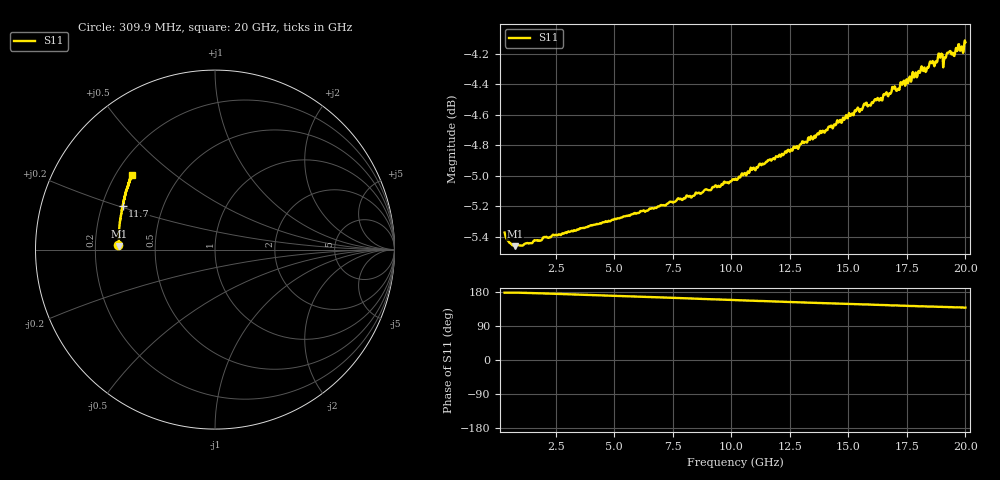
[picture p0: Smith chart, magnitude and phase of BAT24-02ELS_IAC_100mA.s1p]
! Infineon Technologies  Discrete & RF Semiconductors
! BAT24-02ELS
! IAC = 100 mA
! One-Port S-Parameters
# Hz  S  MA  R  50
!f  S11
!Hz  Mag  Ang
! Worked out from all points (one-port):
!   789 points, 309.9 MHz to 20 GHz, reference 50 ohm
!   lowest |S11| = -5.5 dB at 759.6 MHz (marker M1), VSWR 3.29, Z = 15.2 + j0.885 ohm
!   |S11| at or under -10 dB: nowhere
!   S11 on the Smith chart (normalised r, x): 309.9 MHz: 0.30, +0.02; 11.7 GHz: 0.29, +0.21; 20 GHz: 0.26, +0.36
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3.0985e8  0.5388 177.6
7.59625e8  0.5333 177.8
1.50925e9  0.5348 176.6
2.783612e9  0.5385 174.0
5.232388e9  0.5447 168.8
7.70615e9  0.5528 163.6
1.015492e10  0.5608 158.1
1.170415e10  0.5688 154.8
1.262869e10  0.5736 152.7
1.507746e10  0.5883 148.0
1.670165e10  0.5971 144.6
1.682659e10  0.5987 144.0
1.70015e10  0.6012 144.2
1.715142e10  0.6004 143.5
1.732634e10  0.603 143.2
1.755122e10  0.603 142.8
1.82009e10  0.6085 141.6
1.837581e10  0.6102 141.2
1.855072e10  0.6122 141.0
1.875062e10  0.613 140.6
1.895052e10  0.616 140.3
1.912544e10  0.6149 139.9
1.932534e10  0.6177 139.6
1.950025e10  0.6157 139.2
1.967516e10  0.6189 138.8
1.982509e10  0.6193 138.5
1.987506e10  0.6185 138.7
2e10  0.6219 138.4
